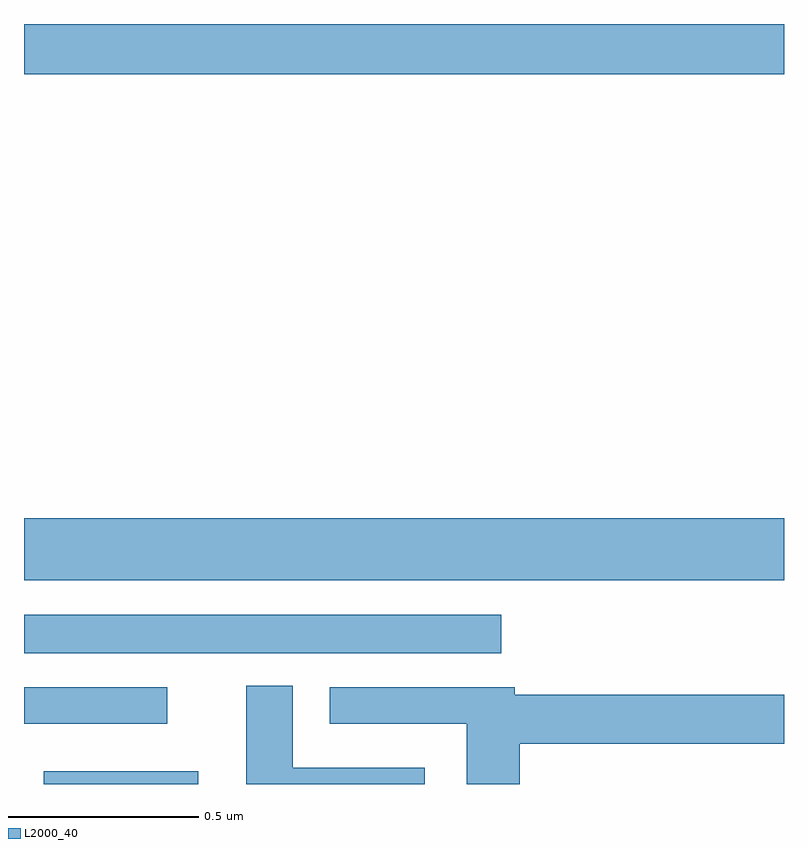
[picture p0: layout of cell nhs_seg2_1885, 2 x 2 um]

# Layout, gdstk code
import gdstk
lib = gdstk.Library(unit=1e-6, precision=1e-09)
def R(c, l, rs):  # rectangles x0, y0, x1, y1
    for r in rs: c.add(gdstk.rectangle(r[:2], r[2:], *l))
def P(c, l, *ps):  # polygons
    for p in ps: c.add(gdstk.Polygon(p, *l))
L2000_40 = (2000, 40)

nhs_seg2_1885 = lib.new_cell('nhs_seg2_1885')
R(nhs_seg2_1885, L2000_40, [(134.052,613.8,134.458,613.834), (134,613.959,134.377,614.055), (134,614.144,135.256,614.245), (134,614.336,136,614.5), (134,615.668,136,615.8)])
P(nhs_seg2_1885, L2000_40, [(135.055,613.843),(134.707,613.843),(134.707,614.059),(134.585,614.059),(134.585,613.8),(135.055,613.8)],
  [(135.305,613.906),(136,613.906),(136,614.035),(135.292,614.035),(135.292,614.055),(134.805,614.055),(134.805,613.959),(135.165,613.959),(135.165,613.8),(135.305,613.8)])

lib.write_gds('nhs_seg2_1885.gds')
